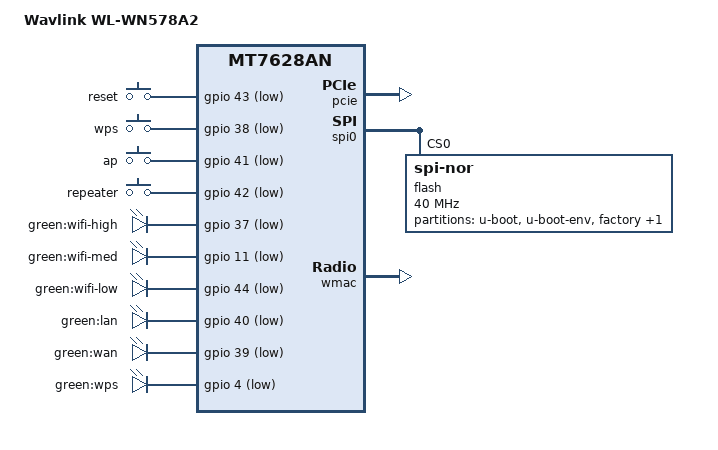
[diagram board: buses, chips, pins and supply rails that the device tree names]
// SPDX-License-Identifier: GPL-2.0-or-later OR MIT

#include "mt7628an.dtsi"

#include <dt-bindings/input/input.h>
#include <dt-bindings/gpio/gpio.h>

/ {
	compatible = "wavlink,wl-wn578a2", "mediatek,mt7628an-soc";
	model = "Wavlink WL-WN578A2";

	aliases {
		led-boot = &led_wps;
		led-failsafe = &led_wps;
		led-running = &led_wps;
		led-upgrade = &led_wps;
	};

	keys {
		compatible = "gpio-keys";

		reset {
			label = "reset";
			gpios = <&gpio 43 GPIO_ACTIVE_LOW>;
			linux,code = <KEY_RESTART>;
		};

		wps {
			label = "wps";
			gpios = <&gpio 38 GPIO_ACTIVE_LOW>;
			linux,code = <KEY_WPS_BUTTON>;
		};

		ap {
			label = "ap";
			gpios = <&gpio 41 GPIO_ACTIVE_LOW>;
			linux,code = <BTN_0>;
			linux,input-type = <EV_SW>;
		};

		repeater {
			label = "repeater";
			gpios = <&gpio 42 GPIO_ACTIVE_LOW>;
			linux,code = <BTN_1>;
			linux,input-type = <EV_SW>;
		};
	};

	leds {
		compatible = "gpio-leds";

		wifi-high {
			label = "green:wifi-high";
			gpios = <&gpio 37 GPIO_ACTIVE_LOW>;
		};

		wifi-med {
			label = "green:wifi-med";
			gpios = <&gpio 11 GPIO_ACTIVE_LOW>;
		};

		wifi-low {
			label = "green:wifi-low";
			gpios = <&gpio 44 GPIO_ACTIVE_LOW>;
		};

		lan {
			label = "green:lan";
			gpios = <&gpio 40 GPIO_ACTIVE_LOW>;
		};

		wan {
			label = "green:wan";
			gpios = <&gpio 39 GPIO_ACTIVE_LOW>;
		};

		led_wps: wps {
			label = "green:wps";
			gpios = <&gpio 4 GPIO_ACTIVE_LOW>;
		};
	};
};

&state_default {
	gpio {
		groups = "i2c", "wdt", "wled_an", "p0led_an", "p1led_an",
			"p2led_an", "p3led_an", "p4led_an", "refclk", "gpio";
		function = "gpio";
	};
};

&pcie {
	status = "okay";
};

&pcie0 {
	wifi@0,0 {
		reg = <0x0000 0 0 0 0>;
		mediatek,mtd-eeprom = <&factory 0x8000>;
		ieee80211-freq-limit = <5000000 6000000>;
	};
};

&spi0 {
	status = "okay";

	flash@0 {
		compatible = "jedec,spi-nor";
		reg = <0>;
		spi-max-frequency = <40000000>;

		partitions {
			compatible = "fixed-partitions";
			#address-cells = <1>;
			#size-cells = <1>;

			partition@0 {
				label = "u-boot";
				reg = <0x0 0x30000>;
				read-only;
			};

			partition@30000 {
				label = "u-boot-env";
				reg = <0x30000 0x10000>;
				read-only;
			};

			factory: partition@40000 {
				label = "factory";
				reg = <0x40000 0x10000>;
				read-only;
			};

			partition@50000 {
				compatible = "denx,uimage";
				label = "firmware";
				reg = <0x50000 0x7b0000>;
			};
		};
	};
};

&wmac {
	status = "okay";

	mediatek,mtd-eeprom = <&factory 0x0>;
};

&ethernet {
	nvmem-cells = <&macaddr_factory_28>;
	nvmem-cell-names = "mac-address";
};

&esw {
	mediatek,portmap = <0x2f>;
};

&usbphy {
	status = "disabled";
};

&ehci {
	status = "disabled";
};

&ohci {
	status = "disabled";
};

&factory {
	compatible = "nvmem-cells";
	#address-cells = <1>;
	#size-cells = <1>;

	macaddr_factory_28: macaddr@28 {
		reg = <0x28 0x6>;
	};
};
